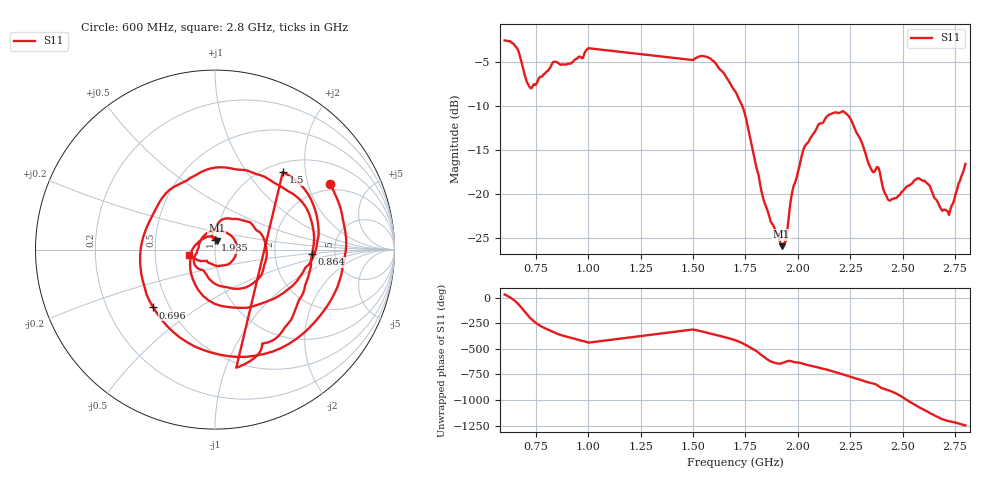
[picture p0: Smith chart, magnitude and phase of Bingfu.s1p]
!File created by NanoVNA
# Hz S RI R 50
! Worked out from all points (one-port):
!   402 points, 600 MHz to 2.8 GHz, reference 50 ohm
!   lowest |S11| = -25.9 dB at 1.923 GHz (marker M1), VSWR 1.11, Z = 50.8 + j5.08 ohm
!   |S11| at or under -10 dB: 1.734 GHz to end of sweep
!   S11 on the Smith chart (normalised r, x): 600 MHz: 1.72, +2.79; 696 MHz: 0.41, -0.34; 864 MHz: 3.34, -0.22; 1.5 GHz: 1.17, +1.50; 1.935 GHz: 1.00, +0.11; 2.8 GHz: 0.75, -0.05
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6e8  0.6418 0.3673
6.38e8  0.6933 -0.175
6.66e8  0.2726 -0.5818
6.96e8  -0.3442 -0.3221
7.34e8  -0.3085 0.2661
7.66e8  -0.00161 0.4565
8.32e8  0.5042 0.2398
8.64e8  0.5402 -0.023
8.76e8  0.5339 -0.0952
9.96e8  0.1479 -0.6457
1e9  0.1186 -0.6578
1.5e9  0.3776 0.4308
1.513e9  0.4317 0.3999
1.5975e9  0.565 0.0112
1.7015e9  0.212 -0.3161
1.7795e9  -0.1326 -0.1366
1.838e9  -0.0718 0.057
1.9225e9  0.00999 0.0499
1.9355e9  0.00239 0.0529
1.981e9  -0.00254 0.1122
2.1565e9  0.2824 0.0272
2.254e9  0.1502 -0.2158
2.3905e9  -0.1188 -0.0629
2.4425e9  -0.0905 0.0179
2.527e9  0.0353 0.1059
2.592e9  0.12 -0.0106
2.7155e9  -0.0452 -0.0659
2.8e9  -0.1451 -0.0306
